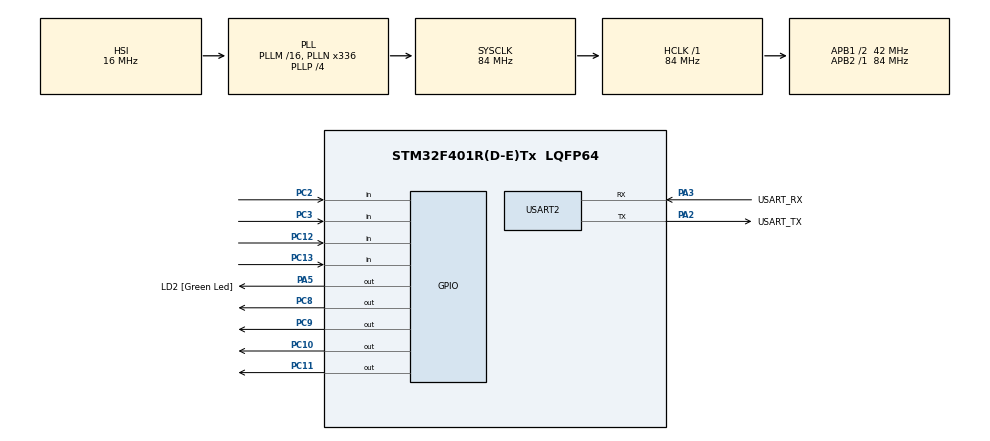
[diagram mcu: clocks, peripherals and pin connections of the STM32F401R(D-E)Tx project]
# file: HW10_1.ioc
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Dma.Request0=USART2_TX
Dma.USART2_TX.0.Direction=DMA_MEMORY_TO_PERIPH
Dma.USART2_TX.0.FIFOMode=DMA_FIFOMODE_DISABLE
Dma.USART2_TX.0.Instance=DMA1_Stream6
Dma.USART2_TX.0.MemDataAlignment=DMA_MDATAALIGN_BYTE
Dma.USART2_TX.0.MemInc=DMA_MINC_ENABLE
Dma.USART2_TX.0.Mode=DMA_NORMAL
Dma.USART2_TX.0.PeriphDataAlignment=DMA_PDATAALIGN_BYTE
Dma.USART2_TX.0.PeriphInc=DMA_PINC_DISABLE
Dma.USART2_TX.0.Priority=DMA_PRIORITY_HIGH
Mcu.Family=STM32F4
Mcu.Name=STM32F401R(D-E)Tx
Mcu.Package=LQFP64
NVIC.DMA1_Stream6_IRQn=true\:0\:0\:false\:false\:true\:false\:true\:true
NVIC.PriorityGroup=NVIC_PRIORITYGROUP_4
NVIC.TIM2_IRQn=true\:0\:0\:false\:false\:true\:true\:true\:true
NVIC.USART2_IRQn=true\:0\:0\:false\:false\:true\:true\:true\:true
PA13.GPIO_Label=TMS
PA13.Mode=Trace_Asynchronous_SW
PA13.Signal=SYS_JTMS-SWDIO
PA14.GPIO_Label=TCK
PA14.Mode=Trace_Asynchronous_SW
PA14.Signal=SYS_JTCK-SWCLK
PA2.GPIO_Label=USART_TX
PA2.GPIO_Mode=GPIO_MODE_AF_PP
PA2.GPIO_PuPd=GPIO_NOPULL
PA2.GPIO_Speed=GPIO_SPEED_FREQ_LOW
PA2.Mode=Asynchronous
PA2.Signal=USART2_TX
PA3.GPIO_Label=USART_RX
PA3.GPIO_Mode=GPIO_MODE_AF_PP
PA3.GPIO_PuPd=GPIO_NOPULL
PA3.GPIO_Speed=GPIO_SPEED_FREQ_LOW
PA3.Mode=Asynchronous
PA3.Signal=USART2_RX
PA5.GPIO_Label=LD2 [Green Led]
PA5.GPIO_Mode=GPIO_MODE_OUTPUT_PP
PA5.GPIO_PuPd=GPIO_NOPULL
PA5.GPIO_Speed=GPIO_SPEED_FREQ_LOW
PA5.Signal=GPIO_Output
PB3.GPIO_Label=SWO
PB3.Mode=Trace_Asynchronous_SW
PB3.Signal=SYS_JTDO-SWO
PC10.Signal=GPIO_Output
PC11.Signal=GPIO_Output
PC12.Signal=GPIO_Input
PC13-ANTI_TAMP.Signal=GPIO_Input
PC14-OSC32_IN.Mode=LSE-External-Oscillator
PC14-OSC32_IN.Signal=RCC_OSC32_IN
PC15-OSC32_OUT.Mode=LSE-External-Oscillator
PC15-OSC32_OUT.Signal=RCC_OSC32_OUT
PC2.Signal=GPIO_Input
PC3.Signal=GPIO_Input
PC8.Signal=GPIO_Output
PC9.Signal=GPIO_Output
PH0\ -\ OSC_IN.Mode=HSE-External-Clock-Source
PH0\ -\ OSC_IN.Signal=RCC_OSC_IN
PH1\ -\ OSC_OUT.Mode=HSE-External-Clock-Source
PH1\ -\ OSC_OUT.Signal=RCC_OSC_OUT
ProjectManager.HeapSize=0x200
ProjectManager.StackSize=0x400
ProjectManager.TargetToolchain=STM32CubeIDE
RCC.48MHZClocksFreq_Value=48000000
RCC.AHBFreq_Value=84000000
RCC.APB1CLKDivider=RCC_HCLK_DIV2
RCC.APB1Freq_Value=42000000
RCC.APB1TimFreq_Value=84000000
RCC.APB2Freq_Value=84000000
RCC.APB2TimFreq_Value=84000000
RCC.CortexFreq_Value=84000000
RCC.HCLKFreq_Value=84000000
RCC.HSE_VALUE=8000000
RCC.HSI_VALUE=16000000
RCC.PLLN=336
RCC.PLLP=RCC_PLLP_DIV4
RCC.PLLQ=7
RCC.SYSCLKFreq_VALUE=84000000
RCC.SYSCLKSource=RCC_SYSCLKSOURCE_PLLCLK
RCC.VCOOutputFreq_Value=336000000
TIM2.Period=3359
TIM2.Prescaler=99
USART2.VirtualMode=VM_ASYNC
VP_TIM2_VS_ClockSourceINT.Mode=Internal
board=NUCLEO-F401RE

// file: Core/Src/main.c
/* USER CODE BEGIN Header */
/**
  ******************************************************************************
  * @file           : main.c
  * @brief          : Main program body
  ******************************************************************************
  * @attention
  *
  * Copyright (c) 2026 STMicroelectronics.
  * All rights reserved.
  *
  * This software is licensed under terms that can be found in the LICENSE file
  * in the root directory of this software component.
  * If no LICENSE file comes with this software, it is provided AS-IS.
  *
  ******************************************************************************
  */
/* USER CODE END Header */
#include "main.h"

/* USER CODE BEGIN Includes */
#include "string.h"
#include "stdio.h"
/* USER CODE END Includes */

/* USER CODE BEGIN PTD */
typedef enum { KEY_IDLE, KEY_DEBOUNCE, KEY_SENT } KeyState;
// Per ogni tasto (4*4 = 16) ci possiamo torvare in 3 stati:
//     KEY_IDLE = il tasto non è premuto
//     KEY_DEBOUNCE = il tasto è premuto e contiamo per quanto tempo
//     KEY_SENT = il tasto è premuto per un tempo > DEBOUNCE, mandiamo via UART

/* USER CODE END PTD */

/* USER CODE BEGIN PD */
#define N_ROWS 4
#define N_COLS 4
#define DEBOUNCE_MS 30

#define COL_PORT GPIOC
#define ROW_PORT GPIOC
/* USER CODE END PD */

TIM_HandleTypeDef htim2;

UART_HandleTypeDef huart2;
DMA_HandleTypeDef hdma_usart2_tx;

/* USER CODE BEGIN PV */
volatile KeyState key_state[N_ROWS][N_COLS] = {{KEY_IDLE}}; // All'inizio assumiamo che nessun tasto sia premuto
volatile uint32_t press_start[N_ROWS][N_COLS] = {{0}};
volatile uint8_t  current_col = 0; // Tenere traccia di dove siamo arrivati a leggere

// Così possiamo iterarci sopra
const uint16_t COL_PIN[N_COLS] = {GPIO_PIN_8, GPIO_PIN_9, GPIO_PIN_10, GPIO_PIN_11};
const uint16_t ROW_PIN[N_ROWS] = {GPIO_PIN_12, GPIO_PIN_13, GPIO_PIN_2, GPIO_PIN_3};

const char keymap[N_ROWS][N_COLS] = {
    {'0','1','2','3'},
    {'4','5','6','7'},
    {'8','9','A','B'},
    {'C','D','E','F'}
};
/* USER CODE END PV */

void SystemClock_Config(void);
static void MX_GPIO_Init(void);
static void MX_DMA_Init(void);
static void MX_USART2_UART_Init(void);
static void MX_TIM2_Init(void);

/* USER CODE BEGIN 0 */
void HAL_TIM_PeriodElapsedCallback(TIM_HandleTypeDef *htim)
{
    if (htim->Instance == TIM2)
    {
        // 1. leggo le righe con la colonna corrente
        for (int row = 0; row < N_ROWS; row++)
        {
            GPIO_PinState r = HAL_GPIO_ReadPin(ROW_PORT, ROW_PIN[row]);

            if (r == GPIO_PIN_RESET) // LOW -> tasto premuto
            {
                if (key_state[row][current_col] == KEY_IDLE)
                {
                    // Se ero in IDLE entro in DEBOUNCE
                	// Se non ero in IDLE non faccio nulla
                	key_state[row][current_col] = KEY_DEBOUNCE;
                    press_start[row][current_col] = HAL_GetTick(); // salvo il momento in cui è stato premuto
                }

            }
            else // HIGH -> tasto non premuto
            {
                // Anche se ero in KEY_SENT, se non premo il tasto torno in IDLE
            	key_state[row][current_col] = KEY_IDLE;
            }
        }

        // 2. Aggiorniamo la colonna
        HAL_GPIO_WritePin(COL_PORT, COL_PIN[current_col], GPIO_PIN_RESET); // Colonna corrente ad alta impedenza (OFF)
        current_col = (current_col + 1) % N_COLS; // Prossima colonna
        HAL_GPIO_WritePin(COL_PORT, COL_PIN[current_col], GPIO_PIN_SET); // La porto a gnd (ON)
    }
}
/* USER CODE END 0 */

int main(void)
{

  /* MCU Configuration--------------------------------------------------------*/

  /* Reset of all peripherals, Initializes the Flash interface and the Systick. */
  HAL_Init();

  /* Configure the system clock */
  SystemClock_Config();

  /* Initialize all configured peripherals */
  MX_GPIO_Init();
  MX_DMA_Init();
  MX_USART2_UART_Init();
  MX_TIM2_Init();
  /* USER CODE BEGIN 2 */

  // Selezioniamo la prima colonna
  HAL_GPIO_WritePin(COL_PORT, COL_PIN[0], GPIO_PIN_SET);
  // Deselezioniamo le altre
  for (int i=1; i<N_COLS; i++){
	  HAL_GPIO_WritePin(COL_PORT, COL_PIN[i], GPIO_PIN_RESET);
  }

  // Ora siamo pronti a far partire il Timer
  HAL_TIM_Base_Start_IT(&htim2);

  /* USER CODE END 2 */

  /* Infinite loop */
  while (1)
  {

    /* USER CODE BEGIN 3 */
	  for (int row = 0; row < N_ROWS; row++)
	      {
	          for (int col = 0; col < N_COLS; col++)
	          {
	              if (key_state[row][col] == KEY_DEBOUNCE &&
	                  (HAL_GetTick() - press_start[row][col]) >= DEBOUNCE_MS)
	              {
	                  // Il tasto è stato premuto oltre il DEBOUNCE
	            	  // Ci prepariamo all'invio
	            	  char buf[8];
	                  int len = sprintf(buf, "%c\r\n", keymap[row][col]);
	                  HAL_UART_Transmit(&huart2, (uint8_t*)buf, len, HAL_MAX_DELAY);
	                  key_state[row][col] = KEY_SENT; // non reinviare finché non torna KEY_IDLE
	              }
	          }
	      }
  }
  /* USER CODE END 3 */
}

void SystemClock_Config(void)
{
  RCC_OscInitTypeDef RCC_OscInitStruct = {0};
  RCC_ClkInitTypeDef RCC_ClkInitStruct = {0};

  /** Configure the main internal regulator output voltage
  */
  __HAL_RCC_PWR_CLK_ENABLE();
  __HAL_PWR_VOLTAGESCALING_CONFIG(PWR_REGULATOR_VOLTAGE_SCALE2);

  /** Initializes the RCC Oscillators according to the specified parameters
  * in the RCC_OscInitTypeDef structure.
  */
  RCC_OscInitStruct.OscillatorType = RCC_OSCILLATORTYPE_HSI;
  RCC_OscInitStruct.HSIState = RCC_HSI_ON;
  RCC_OscInitStruct.HSICalibrationValue = RCC_HSICALIBRATION_DEFAULT;
  RCC_OscInitStruct.PLL.PLLState = RCC_PLL_ON;
  RCC_OscInitStruct.PLL.PLLSource = RCC_PLLSOURCE_HSI;
  RCC_OscInitStruct.PLL.PLLM = 16;
  RCC_OscInitStruct.PLL.PLLN = 336;
  RCC_OscInitStruct.PLL.PLLP = RCC_PLLP_DIV4;
  RCC_OscInitStruct.PLL.PLLQ = 7;
  if (HAL_RCC_OscConfig(&RCC_OscInitStruct) != HAL_OK)
  {
    Error_Handler();
  }

  /** Initializes the CPU, AHB and APB buses clocks
  */
  RCC_ClkInitStruct.ClockType = RCC_CLOCKTYPE_HCLK|RCC_CLOCKTYPE_SYSCLK
                              |RCC_CLOCKTYPE_PCLK1|RCC_CLOCKTYPE_PCLK2;
  RCC_ClkInitStruct.SYSCLKSource = RCC_SYSCLKSOURCE_PLLCLK;
  RCC_ClkInitStruct.AHBCLKDivider = RCC_SYSCLK_DIV1;
  RCC_ClkInitStruct.APB1CLKDivider = RCC_HCLK_DIV2;
  RCC_ClkInitStruct.APB2CLKDivider = RCC_HCLK_DIV1;

  if (HAL_RCC_ClockConfig(&RCC_ClkInitStruct, FLASH_LATENCY_2) != HAL_OK)
  {
    Error_Handler();
  }
}

static void MX_TIM2_Init(void)
{

  TIM_ClockConfigTypeDef sClockSourceConfig = {0};
  TIM_MasterConfigTypeDef sMasterConfig = {0};

  htim2.Instance = TIM2;
  htim2.Init.Prescaler = 99;
  htim2.Init.CounterMode = TIM_COUNTERMODE_UP;
  htim2.Init.Period = 3359;
  htim2.Init.ClockDivision = TIM_CLOCKDIVISION_DIV1;
  htim2.Init.AutoReloadPreload = TIM_AUTORELOAD_PRELOAD_DISABLE;
  if (HAL_TIM_Base_Init(&htim2) != HAL_OK)
  {
    Error_Handler();
  }
  sClockSourceConfig.ClockSource = TIM_CLOCKSOURCE_INTERNAL;
  if (HAL_TIM_ConfigClockSource(&htim2, &sClockSourceConfig) != HAL_OK)
  {
    Error_Handler();
  }
  sMasterConfig.MasterOutputTrigger = TIM_TRGO_RESET;
  sMasterConfig.MasterSlaveMode = TIM_MASTERSLAVEMODE_DISABLE;
  if (HAL_TIMEx_MasterConfigSynchronization(&htim2, &sMasterConfig) != HAL_OK)
  {
    Error_Handler();
  }

}

static void MX_USART2_UART_Init(void)
{

  huart2.Instance = USART2;
  huart2.Init.BaudRate = 115200;
  huart2.Init.WordLength = UART_WORDLENGTH_8B;
  huart2.Init.StopBits = UART_STOPBITS_1;
  huart2.Init.Parity = UART_PARITY_NONE;
  huart2.Init.Mode = UART_MODE_TX_RX;
  huart2.Init.HwFlowCtl = UART_HWCONTROL_NONE;
  huart2.Init.OverSampling = UART_OVERSAMPLING_16;
  if (HAL_UART_Init(&huart2) != HAL_OK)
  {
    Error_Handler();
  }

}

static void MX_DMA_Init(void)
{

  /* DMA controller clock enable */
  __HAL_RCC_DMA1_CLK_ENABLE();

  /* DMA interrupt init */
  /* DMA1_Stream6_IRQn interrupt configuration */
  HAL_NVIC_SetPriority(DMA1_Stream6_IRQn, 0, 0);
  HAL_NVIC_EnableIRQ(DMA1_Stream6_IRQn);

}

static void MX_GPIO_Init(void)
{
  GPIO_InitTypeDef GPIO_InitStruct = {0};

  /* GPIO Ports Clock Enable */
  __HAL_RCC_GPIOC_CLK_ENABLE();
  __HAL_RCC_GPIOH_CLK_ENABLE();
  __HAL_RCC_GPIOA_CLK_ENABLE();
  __HAL_RCC_GPIOB_CLK_ENABLE();

  /*Configure GPIO pin Output Level */
  HAL_GPIO_WritePin(LD2_GPIO_Port, LD2_Pin, GPIO_PIN_RESET);

  /*Configure GPIO pin Output Level */
  HAL_GPIO_WritePin(GPIOC, GPIO_PIN_8|GPIO_PIN_9|GPIO_PIN_10|GPIO_PIN_11, GPIO_PIN_RESET);

  /*Configure GPIO pins : PC13 PC2 PC3 PC12 */
  GPIO_InitStruct.Pin = GPIO_PIN_13|GPIO_PIN_2|GPIO_PIN_3|GPIO_PIN_12;
  GPIO_InitStruct.Mode = GPIO_MODE_INPUT;
  GPIO_InitStruct.Pull = GPIO_NOPULL;
  HAL_GPIO_Init(GPIOC, &GPIO_InitStruct);

  /*Configure GPIO pin : LD2_Pin */
  GPIO_InitStruct.Pin = LD2_Pin;
  GPIO_InitStruct.Mode = GPIO_MODE_OUTPUT_PP;
  GPIO_InitStruct.Pull = GPIO_NOPULL;
  GPIO_InitStruct.Speed = GPIO_SPEED_FREQ_LOW;
  HAL_GPIO_Init(LD2_GPIO_Port, &GPIO_InitStruct);

  /*Configure GPIO pins : PC8 PC9 PC10 PC11 */
  GPIO_InitStruct.Pin = GPIO_PIN_8|GPIO_PIN_9|GPIO_PIN_10|GPIO_PIN_11;
  GPIO_InitStruct.Mode = GPIO_MODE_OUTPUT_PP;
  GPIO_InitStruct.Pull = GPIO_NOPULL;
  GPIO_InitStruct.Speed = GPIO_SPEED_FREQ_LOW;
  HAL_GPIO_Init(GPIOC, &GPIO_InitStruct);

}

void Error_Handler(void)
{
  __disable_irq();
  while (1)
  {
  }
}
